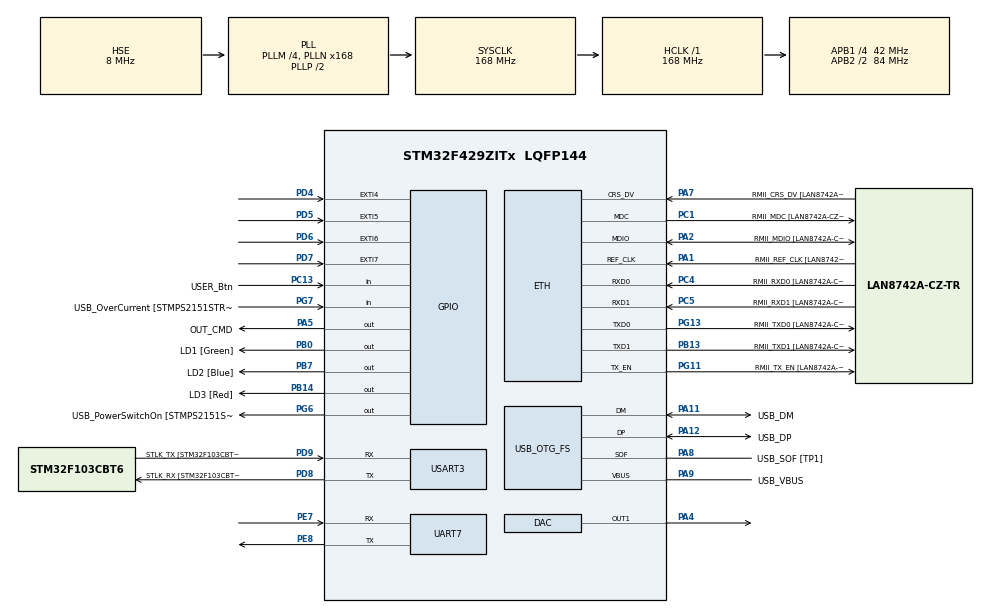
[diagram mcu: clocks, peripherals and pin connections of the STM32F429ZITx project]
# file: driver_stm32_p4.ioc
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Mcu.Family=STM32F4
FREERTOS.Queues01=queue_read_uart,49,10,1,Dynamic,NULL,NULL;queue_send_uart,10,5,1,Dynamic,NULL,NULL
RCC.CortexFreq_Value=168000000
PG6.Signal=GPIO_Output
PB14.GPIO_Label=LD3 [Red]
PG6.GPIO_Label=USB_PowerSwitchOn [STMPS2151STR_EN]
PA14.GPIO_Label=TCK
RCC.SYSCLKSourceVirtual=RCC_SYSCLKSOURCE_PLLCLK
PA11.Mode=Device_Only
PB0.GPIO_Label=LD1 [Green]
PC14/OSC32_IN.Mode=LSE-External-Oscillator
PC5.Mode=RMII
PC13.GPIO_Label=USER_Btn
PB13.GPIO_Label=RMII_TXD1 [LAN8742A-CZ-TR_TXD1]
PB13.Signal=ETH_TXD1
PG13.Signal=ETH_TXD0
PD9.Mode=Asynchronous
PG11.Signal=ETH_TX_EN
RCC.SYSCLKSource=RCC_SYSCLKSOURCE_PLLCLK
ProjectManager.StackSize=0x400
VP_FREERTOS_VS_CMSIS_V2.Mode=CMSIS_V2
PA12.Signal=USB_OTG_FS_DP
ETH.PHY_Value=0
PH0/OSC_IN.Mode=HSE-External-Clock-Source
RCC.HCLKFreq_Value=168000000
PD4.Signal=GPXTI4
RCC.APB2TimFreq_Value=168000000
PH1/OSC_OUT.Signal=RCC_OSC_OUT
PD8.Signal=USART3_TX
RCC.AHBFreq_Value=168000000
RCC.HSE_VALUE=8000000
RCC.PLLMUL=RCC_PLL_MUL9
PC4.GPIO_Label=RMII_RXD0 [LAN8742A-CZ-TR_RXD0]
PA14.Mode=Serial_Wire
PA10.GPIO_Label=USB_ID
PB7.Signal=GPIO_Output
PA8.Signal=USB_OTG_FS_SOF
PG13.Mode=RMII
ETH.PHY_Name=LAN8742A_PHY_ADDRESS
PH1/OSC_OUT.Mode=HSE-External-Clock-Source
PB7.GPIO_Label=LD2 [Blue]
Mcu.Package=LQFP144
PC14/OSC32_IN.Signal=RCC_OSC32_IN
PA2.GPIO_Label=RMII_MDIO [LAN8742A-CZ-TR_MDIO]
PA10.Signal=USB_OTG_FS_ID
USB_OTG_FS.VirtualMode=Device_Only
RCC.APB2CLKDivider=RCC_HCLK_DIV2
RCC.APB1TimFreq_Value=84000000
PG11.GPIO_Label=RMII_TX_EN [LAN8742A-CZ-TR_TXEN]
PC5.Signal=ETH_RXD1
PB13.Mode=RMII
PE7.Signal=UART7_RX
PD6.Signal=GPXTI6
PC4.Mode=RMII
SH.COMP_DAC1_group.0=DAC_OUT1,DAC_OUT1
NVIC.EXTI4_IRQn=true\:5\:0\:false\:false\:true\:true\:true\:true
FREERTOS.Tasks01=defaultTask,24,128,StartDefaultTask,Default,NULL,Dynamic,NULL,NULL;read_input_task,24,128,read_input_function,Default,NULL,Dynamic,NULL,NULL;show_led_task,24,128,show_led_function,Default,NULL,Dynamic,NULL,NULL;uart_task,24,128,uart_task_function,Default,NULL,Dynamic,NULL,NULL;other_task,40,128,other_task_function,Default,NULL,Dynamic,NULL,NULL
PA7.Mode=RMII
PG7.Signal=GPIO_Input
PD9.GPIO_Label=STLK_TX [STM32F103CBT6_PA2]
PC13.Signal=GPIO_Input
PA9.GPIO_Label=USB_VBUS
PC4.Signal=ETH_RXD0
PD7.Signal=GPXTI7
PA11.GPIO_Label=USB_DM
PD9.Signal=USART3_RX
PD5.Signal=GPXTI5
UART7.VirtualMode=Asynchronous
RCC.APB1CLKDivider=RCC_HCLK_DIV4
PG13.GPIO_Label=RMII_TXD0 [LAN8742A-CZ-TR_TXD0]
ETH.PhyAddress=0
PA12.GPIO_Label=USB_DP
PD8.GPIO_Label=STLK_RX [STM32F103CBT6_PA3]
PE8.Mode=Asynchronous
PA13.Signal=SYS_JTMS-SWDIO
PA9.Mode=Activate_VBUS
PA8.GPIO_Label=USB_SOF [TP1]
ProjectManager.TargetToolchain=TrueSTUDIO
PA9.Signal=USB_OTG_FS_VBUS
RCC.USBFreq_Value=48000000
PD8.Mode=Asynchronous
PA1.Signal=ETH_REF_CLK
PB14.Signal=GPIO_Output
PA5.Signal=GPIO_Output
board=NUCLEO-F429ZI
RCC.VCOOutputFreq_Value=336000000
PH0/OSC_IN.Signal=RCC_OSC_IN
RCC.APB2Freq_Value=84000000
PA1.Mode=RMII
RCC.PRESCALERUSB=RCC_USBCLKSOURCE_PLL_DIV1_5
PE8.Signal=UART7_TX
PG7.GPIO_Label=USB_OverCurrent [STMPS2151STR_FAULT]
PA1.GPIO_Label=RMII_REF_CLK [LAN8742A-CZ-TR_REFCLK0]
PC1.GPIO_Label=RMII_MDC [LAN8742A-CZ-TR_MDC]
PA13.Mode=Serial_Wire
Mcu.Name=STM32F429ZITx
PA2.Signal=ETH_MDIO
PA13.GPIO_Label=TMS
RCC.APB2TimCLKDivider=2
RCC.48MHZClocksFreq_Value=48000000
PA4.Signal=COMP_DAC1_group
RCC.SYSCLKFreq_VALUE=168000000
PE7.Mode=Asynchronous
ETH.MediaInterface=ETH_MEDIA_INTERFACE_RMII
PA7.GPIO_Label=RMII_CRS_DV [LAN8742A-CZ-TR_CRS_DV]
PA12.Mode=Device_Only
PA5.GPIO_Label=OUT_CMD
PC5.GPIO_Label=RMII_RXD1 [LAN8742A-CZ-TR_RXD1]
USART3.VirtualMode=VM_ASYNC
PC15/OSC32_OUT.Mode=LSE-External-Oscillator
PG11.Mode=RMII
PA11.Signal=USB_OTG_FS_DM
NVIC.EXTI9_5_IRQn=true\:5\:0\:false\:true\:true\:1\:true\:true\:true
PA14.Signal=SYS_JTCK-SWCLK
ProjectManager.HeapSize=0x200
RCC.HSI_VALUE=16000000
PH0/OSC_IN.GPIO_Label=MCO [STM32F103CBT6_PA8]
RCC.PLLQ=7
NVIC.PriorityGroup=NVIC_PRIORITYGROUP_4
RCC.PLLM=4
RCC.PLLN=168
PA2.Mode=RMII
PC15/OSC32_OUT.Signal=RCC_OSC32_OUT
PA8.Mode=Activate_SOF_FS
RCC.APB1Freq_Value=42000000
PB0.Signal=GPIO_Output
PC1.Signal=ETH_MDC
PC1.Mode=RMII
PA7.Signal=ETH_CRS_DV

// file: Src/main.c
/* USER CODE BEGIN Header */
/**
 ******************************************************************************
 * @file           : main.c
 * @brief          : Main program body
 ******************************************************************************
 * @attention
 *
 * <h2><center>&copy; Copyright (c) 2020 STMicroelectronics.
 * All rights reserved.</center></h2>
 *
 * This software component is licensed by ST under Ultimate Liberty license
 * SLA0044, the "License"; You may not use this file except in compliance with
 * the License. You may obtain a copy of the License at:
 *                             www.st.com/SLA0044
 *
 ******************************************************************************
 */
/* USER CODE END Header */

#include "main.h"
#include "cmsis_os.h"

/* USER CODE BEGIN Includes */
#include <stdbool.h>

/* USER CODE END Includes */

/* USER CODE BEGIN PD */
#define TIME_0_HIGH 8
#define TIME_0_LOW 20
#define TIME_1_HIGH 19
#define TIME_1_LOW 13
#define TIME_RESET 2000
#define SIZE_MESSAGE_SEND 9
#define SIZE_MESSAGE_RECEIVE 10

/* USER CODE END PD */

DAC_HandleTypeDef hdac;

ETH_HandleTypeDef heth;

UART_HandleTypeDef huart7;
UART_HandleTypeDef huart3;

PCD_HandleTypeDef hpcd_USB_OTG_FS;

/* Definitions for defaultTask */
osThreadId_t defaultTaskHandle;
const osThreadAttr_t defaultTask_attributes = {
		.name = "defaultTask",
		.priority = (osPriority_t) osPriorityNormal,
		.stack_size = 128 * 4
};
/* Definitions for read_input_task */
osThreadId_t read_input_taskHandle;
const osThreadAttr_t read_input_task_attributes = {
		.name = "read_input_task",
		.priority = (osPriority_t) osPriorityNormal,
		.stack_size = 128 * 4
};
/* Definitions for show_led_task */
osThreadId_t show_led_taskHandle;
const osThreadAttr_t show_led_task_attributes = {
		.name = "show_led_task",
		.priority = (osPriority_t) osPriorityNormal,
		.stack_size = 128 * 4
};
/* Definitions for uart_task */
osThreadId_t uart_taskHandle;
const osThreadAttr_t uart_task_attributes = {
		.name = "uart_task",
		.priority = (osPriority_t) osPriorityNormal,
		.stack_size = 128 * 4
};
/* Definitions for other_task */
osThreadId_t other_taskHandle;
const osThreadAttr_t other_task_attributes = {
		.name = "other_task",
		.priority = (osPriority_t) osPriorityHigh,
		.stack_size = 128 * 4
};
/* Definitions for queue_read_uart */
osMessageQueueId_t queue_read_uartHandle;
const osMessageQueueAttr_t queue_read_uart_attributes = {
		.name = "queue_read_uart"
};
/* Definitions for queue_send_uart */
osMessageQueueId_t queue_send_uartHandle;
const osMessageQueueAttr_t queue_send_uart_attributes = {
		.name = "queue_send_uart"
};
/* USER CODE BEGIN PV */

bool flag_interrupt_left = false;
bool flag_interrupt_down = false;
bool flag_interrupt_right = false;
int matrix[8][8];

/* USER CODE END PV */

void SystemClock_Config(void);
static void MX_GPIO_Init(void);
static void MX_ETH_Init(void);
static void MX_USART3_UART_Init(void);
static void MX_USB_OTG_FS_PCD_Init(void);
static void MX_UART7_Init(void);
static void MX_DAC_Init(void);
void StartDefaultTask(void *argument);
void read_input_function(void *argument);
void show_led_function(void *argument);
void uart_task_function(void *argument);
void other_task_function(void *argument);

static void MX_NVIC_Init(void);

int main(void)
{

	/* MCU Configuration--------------------------------------------------------*/

	/* Reset of all peripherals, Initializes the Flash interface and the Systick. */
	HAL_Init();

	/* Configure the system clock */
	SystemClock_Config();

	/* Initialize all configured peripherals */
	MX_GPIO_Init();
	MX_ETH_Init();
	MX_USART3_UART_Init();
	MX_USB_OTG_FS_PCD_Init();
	MX_UART7_Init();
	MX_DAC_Init();

	/* Initialize interrupts */
	MX_NVIC_Init();

	/* Init scheduler */
	osKernelInitialize();

	/* Create the queue(s) */
	/* creation of queue_read_uart */
	queue_read_uartHandle = osMessageQueueNew (49, 10, &queue_read_uart_attributes);

	/* creation of queue_send_uart */
	queue_send_uartHandle = osMessageQueueNew (10, 9, &queue_send_uart_attributes);

	/* Create the thread(s) */
	/* creation of defaultTask */
	defaultTaskHandle = osThreadNew(StartDefaultTask, NULL, &defaultTask_attributes);

	/* creation of read_input_task */
	read_input_taskHandle = osThreadNew(read_input_function, NULL, &read_input_task_attributes);

	/* creation of show_led_task */
	show_led_taskHandle = osThreadNew(show_led_function, NULL, &show_led_task_attributes);

	/* creation of uart_task */
	uart_taskHandle = osThreadNew(uart_task_function, NULL, &uart_task_attributes);

	/* creation of other_task */
	other_taskHandle = osThreadNew(other_task_function, NULL, &other_task_attributes);

	/* Start scheduler */
	osKernelStart();

	/* We should never get here as control is now taken by the scheduler */
	/* Infinite loop */
	while (1)
	{

	}
}

void SystemClock_Config(void)
{
	RCC_OscInitTypeDef RCC_OscInitStruct = {0};
	RCC_ClkInitTypeDef RCC_ClkInitStruct = {0};

	/** Configure the main internal regulator output voltage
	 */
	__HAL_RCC_PWR_CLK_ENABLE();
	__HAL_PWR_VOLTAGESCALING_CONFIG(PWR_REGULATOR_VOLTAGE_SCALE1);
	/** Initializes the CPU, AHB and APB busses clocks
	 */
	RCC_OscInitStruct.OscillatorType = RCC_OSCILLATORTYPE_HSE;
	RCC_OscInitStruct.HSEState = RCC_HSE_BYPASS;
	RCC_OscInitStruct.PLL.PLLState = RCC_PLL_ON;
	RCC_OscInitStruct.PLL.PLLSource = RCC_PLLSOURCE_HSE;
	RCC_OscInitStruct.PLL.PLLM = 4;
	RCC_OscInitStruct.PLL.PLLN = 168;
	RCC_OscInitStruct.PLL.PLLP = RCC_PLLP_DIV2;
	RCC_OscInitStruct.PLL.PLLQ = 7;
	if (HAL_RCC_OscConfig(&RCC_OscInitStruct) != HAL_OK)
	{
		Error_Handler();
	}
	/** Initializes the CPU, AHB and APB busses clocks
	 */
	RCC_ClkInitStruct.ClockType = RCC_CLOCKTYPE_HCLK|RCC_CLOCKTYPE_SYSCLK
			|RCC_CLOCKTYPE_PCLK1|RCC_CLOCKTYPE_PCLK2;
	RCC_ClkInitStruct.SYSCLKSource = RCC_SYSCLKSOURCE_PLLCLK;
	RCC_ClkInitStruct.AHBCLKDivider = RCC_SYSCLK_DIV1;
	RCC_ClkInitStruct.APB1CLKDivider = RCC_HCLK_DIV4;
	RCC_ClkInitStruct.APB2CLKDivider = RCC_HCLK_DIV2;

	if (HAL_RCC_ClockConfig(&RCC_ClkInitStruct, FLASH_LATENCY_5) != HAL_OK)
	{
		Error_Handler();
	}
}

/**
 * @brief NVIC Configuration.
 * @retval None
 */
static void MX_NVIC_Init(void)
{
	/* EXTI9_5_IRQn interrupt configuration */
	HAL_NVIC_SetPriority(EXTI9_5_IRQn, 5, 0);
	HAL_NVIC_EnableIRQ(EXTI9_5_IRQn);
}

static void MX_DAC_Init(void)
{

	DAC_ChannelConfTypeDef sConfig = {0};

	/** DAC Initialization
	 */
	hdac.Instance = DAC;
	if (HAL_DAC_Init(&hdac) != HAL_OK)
	{
		Error_Handler();
	}
	/** DAC channel OUT1 config
	 */
	sConfig.DAC_Trigger = DAC_TRIGGER_NONE;
	sConfig.DAC_OutputBuffer = DAC_OUTPUTBUFFER_ENABLE;
	if (HAL_DAC_ConfigChannel(&hdac, &sConfig, DAC_CHANNEL_1) != HAL_OK)
	{
		Error_Handler();
	}

}

static void MX_ETH_Init(void)
{

	heth.Instance = ETH;
	heth.Init.AutoNegotiation = ETH_AUTONEGOTIATION_ENABLE;
	heth.Init.PhyAddress = LAN8742A_PHY_ADDRESS;
	heth.Init.MACAddr[0] =   0x00;
	heth.Init.MACAddr[1] =   0x80;
	heth.Init.MACAddr[2] =   0xE1;
	heth.Init.MACAddr[3] =   0x00;
	heth.Init.MACAddr[4] =   0x00;
	heth.Init.MACAddr[5] =   0x00;
	heth.Init.RxMode = ETH_RXPOLLING_MODE;
	heth.Init.ChecksumMode = ETH_CHECKSUM_BY_HARDWARE;
	heth.Init.MediaInterface = ETH_MEDIA_INTERFACE_RMII;

	if (HAL_ETH_Init(&heth) != HAL_OK)
	{
		Error_Handler();
	}

}

static void MX_UART7_Init(void)
{

	huart7.Instance = UART7;
	huart7.Init.BaudRate = 115200;
	huart7.Init.WordLength = UART_WORDLENGTH_8B;
	huart7.Init.StopBits = UART_STOPBITS_1;
	huart7.Init.Parity = UART_PARITY_NONE;
	huart7.Init.Mode = UART_MODE_TX_RX;
	huart7.Init.HwFlowCtl = UART_HWCONTROL_NONE;
	huart7.Init.OverSampling = UART_OVERSAMPLING_16;
	if (HAL_UART_Init(&huart7) != HAL_OK)
	{
		Error_Handler();
	}

}

static void MX_USART3_UART_Init(void)
{

	huart3.Instance = USART3;
	huart3.Init.BaudRate = 115200;
	huart3.Init.WordLength = UART_WORDLENGTH_8B;
	huart3.Init.StopBits = UART_STOPBITS_1;
	huart3.Init.Parity = UART_PARITY_NONE;
	huart3.Init.Mode = UART_MODE_TX_RX;
	huart3.Init.HwFlowCtl = UART_HWCONTROL_NONE;
	huart3.Init.OverSampling = UART_OVERSAMPLING_16;
	if (HAL_UART_Init(&huart3) != HAL_OK)
	{
		Error_Handler();
	}

}

static void MX_USB_OTG_FS_PCD_Init(void)
{

	hpcd_USB_OTG_FS.Instance = USB_OTG_FS;
	hpcd_USB_OTG_FS.Init.dev_endpoints = 4;
	hpcd_USB_OTG_FS.Init.speed = PCD_SPEED_FULL;
	hpcd_USB_OTG_FS.Init.dma_enable = DISABLE;
	hpcd_USB_OTG_FS.Init.phy_itface = PCD_PHY_EMBEDDED;
	hpcd_USB_OTG_FS.Init.Sof_enable = ENABLE;
	hpcd_USB_OTG_FS.Init.low_power_enable = DISABLE;
	hpcd_USB_OTG_FS.Init.lpm_enable = DISABLE;
	hpcd_USB_OTG_FS.Init.vbus_sensing_enable = ENABLE;
	hpcd_USB_OTG_FS.Init.use_dedicated_ep1 = DISABLE;
	if (HAL_PCD_Init(&hpcd_USB_OTG_FS) != HAL_OK)
	{
		Error_Handler();
	}

}

static void MX_GPIO_Init(void)
{
	GPIO_InitTypeDef GPIO_InitStruct = {0};

	/* GPIO Ports Clock Enable */
	__HAL_RCC_GPIOC_CLK_ENABLE();
	__HAL_RCC_GPIOH_CLK_ENABLE();
	__HAL_RCC_GPIOA_CLK_ENABLE();
	__HAL_RCC_GPIOB_CLK_ENABLE();
	__HAL_RCC_GPIOE_CLK_ENABLE();
	__HAL_RCC_GPIOD_CLK_ENABLE();
	__HAL_RCC_GPIOG_CLK_ENABLE();

	/*Configure GPIO pin Output Level */
	HAL_GPIO_WritePin(OUT_CMD_GPIO_Port, OUT_CMD_Pin, GPIO_PIN_RESET);

	/*Configure GPIO pin Output Level */
	HAL_GPIO_WritePin(GPIOB, LD1_Pin|LD3_Pin|LD2_Pin, GPIO_PIN_RESET);

	/*Configure GPIO pin Output Level */
	HAL_GPIO_WritePin(USB_PowerSwitchOn_GPIO_Port, USB_PowerSwitchOn_Pin, GPIO_PIN_RESET);

	/*Configure GPIO pin : USER_Btn_Pin */
	GPIO_InitStruct.Pin = USER_Btn_Pin;
	GPIO_InitStruct.Mode = GPIO_MODE_INPUT;
	GPIO_InitStruct.Pull = GPIO_NOPULL;
	HAL_GPIO_Init(USER_Btn_GPIO_Port, &GPIO_InitStruct);

	/*Configure GPIO pin : OUT_CMD_Pin */
	GPIO_InitStruct.Pin = OUT_CMD_Pin;
	GPIO_InitStruct.Mode = GPIO_MODE_OUTPUT_PP;
	GPIO_InitStruct.Pull = GPIO_NOPULL;
	GPIO_InitStruct.Speed = GPIO_SPEED_FREQ_LOW;
	HAL_GPIO_Init(OUT_CMD_GPIO_Port, &GPIO_InitStruct);

	/*Configure GPIO pins : LD1_Pin LD3_Pin LD2_Pin */
	GPIO_InitStruct.Pin = LD1_Pin|LD3_Pin|LD2_Pin;
	GPIO_InitStruct.Mode = GPIO_MODE_OUTPUT_PP;
	GPIO_InitStruct.Pull = GPIO_NOPULL;
	GPIO_InitStruct.Speed = GPIO_SPEED_FREQ_LOW;
	HAL_GPIO_Init(GPIOB, &GPIO_InitStruct);

	/*Configure GPIO pin : USB_PowerSwitchOn_Pin */
	GPIO_InitStruct.Pin = USB_PowerSwitchOn_Pin;
	GPIO_InitStruct.Mode = GPIO_MODE_OUTPUT_PP;
	GPIO_InitStruct.Pull = GPIO_NOPULL;
	GPIO_InitStruct.Speed = GPIO_SPEED_FREQ_LOW;
	HAL_GPIO_Init(USB_PowerSwitchOn_GPIO_Port, &GPIO_InitStruct);

	/*Configure GPIO pin : USB_OverCurrent_Pin */
	GPIO_InitStruct.Pin = USB_OverCurrent_Pin;
	GPIO_InitStruct.Mode = GPIO_MODE_INPUT;
	GPIO_InitStruct.Pull = GPIO_NOPULL;
	HAL_GPIO_Init(USB_OverCurrent_GPIO_Port, &GPIO_InitStruct);

	/*Configure GPIO pins : PD4 PD5 PD6 PD7 */
	GPIO_InitStruct.Pin = GPIO_PIN_4|GPIO_PIN_5|GPIO_PIN_6|GPIO_PIN_7;
	GPIO_InitStruct.Mode = GPIO_MODE_IT_RISING;
	GPIO_InitStruct.Pull = GPIO_NOPULL;
	HAL_GPIO_Init(GPIOD, &GPIO_InitStruct);

	/* EXTI interrupt init*/
	HAL_NVIC_SetPriority(EXTI4_IRQn, 5, 0);
	HAL_NVIC_EnableIRQ(EXTI4_IRQn);

}

/* USER CODE BEGIN 4 */
void HAL_GPIO_EXTI_Callback(uint16_t GPIO_Pin){
	if(GPIO_Pin == GPIO_PIN_4){
		flag_interrupt_left = true;
	}
	else if(GPIO_Pin == GPIO_PIN_5){
		flag_interrupt_down = true;
	}
	else if(GPIO_Pin == GPIO_PIN_6){
		flag_interrupt_down = true;
	}
	else if(GPIO_Pin == GPIO_PIN_7){
		flag_interrupt_right = true;
	}
}

uint8_t two_ascii_to_uint8(char color_value[2]){
	uint8_t num_color_value1 = 0;
	uint8_t num_color_value2 = 0;
	uint8_t total_color_value = 0;

	// calcul la valeur décimal du premier caractère hexa
	if (color_value[0] == '0'){
		num_color_value1 = 0*16;
	}
	else if (color_value[0] == '1'){
		num_color_value1 = 1*16;
	}
	else if (color_value[0] == '2'){
		num_color_value1 = 2*16;
	}
	else if (color_value[0] == '3'){
		num_color_value1 = 3*16;
	}
	else if (color_value[0] == '4'){
		num_color_value1 = 4*16;
	}
	else if (color_value[0] == '5'){
		num_color_value1 = 5*16;
	}
	else if (color_value[0] == '6'){
		num_color_value1 = 6*16;
	}
	else if (color_value[0] == '7'){
		num_color_value1 = 7*16;
	}
	else if (color_value[0] == '8'){
		num_color_value1 = 8*16;
	}
	else if (color_value[0] == '0'){
		num_color_value1 = 0*16;
	}
	else if (color_value[0] == '9'){
		num_color_value1 = 9*16;
	}
	else if (color_value[0] == 'A'){
		num_color_value1 = 10*16;
	}
	else if (color_value[0] == 'B'){
		num_color_value1 = 11*16;
	}
	else if (color_value[0] == 'C'){
		num_color_value1 = 12*16;
	}
	else if (color_value[0] == 'D'){
		num_color_value1 = 13*16;
	}
	else if (color_value[0] == 'E'){
		num_color_value1 = 14*16;
	}
	else if (color_value[0] == 'F'){
		num_color_value1 = 15*16;
	}

	// calcul la valeur décimal du deuxieme caractère hexa
	if (color_value[1] == '0'){
		num_color_value2 = 0;
	}
	else if (color_value[1] == '1'){
		num_color_value2 = 1;
	}
	else if (color_value[1] == '2'){
		num_color_value2 = 2;
	}
	else if (color_value[1] == '3'){
		num_color_value2 = 3;
	}
	else if (color_value[1] == '4'){
		num_color_value2 = 4;
	}
	else if (color_value[1] == '5'){
		num_color_value2 = 5;
	}
	else if (color_value[1] == '6'){
		num_color_value2 = 6;
	}
	else if (color_value[1] == '7'){
		num_color_value2 = 7;
	}
	else if (color_value[1] == '8'){
		num_color_value2 = 8;
	}
	else if (color_value[1] == '0'){
		num_color_value2 = 0;
	}
	else if (color_value[1] == '9'){
		num_color_value2 = 9;
	}
	else if (color_value[1] == 'A'){
		num_color_value2 = 10;
	}
	else if (color_value[1] == 'B'){
		num_color_value2 = 11;
	}
	else if (color_value[1] == 'C'){
		num_color_value2 = 12;
	}
	else if (color_value[1] == 'D'){
		num_color_value2 = 13;
	}
	else if (color_value[1] == 'E'){
		num_color_value2 = 14;
	}
	else if (color_value[1] == 'F'){
		num_color_value2 = 15;
	}
	total_color_value = num_color_value1 + num_color_value2;
	return total_color_value;
}

void init_matrix( ){
	for(int row=0 ; row<8; row++){
		for(int col=0 ; col<8; col++){
			matrix[row][col]= 0;
		}
	}
}

void update_matrix(int row, int col, int GRBValue){
	for (int i = 0 ; i < 8 ;i++){
		for(int j=0; j < 8;j++){
			if ((i == row) && (j==col)){
				matrix[i][j]= GRBValue;
			}
		}
	}
}

void test_trame_to_led(){
	init_matrix();
	char message_receive[10] = {"R87000008\n"};
	char var_Rvalue[2] = {0};
	char var_Gvalue[2] = {0};
	char var_Bvalue[2] = {0};
	int row = 0;
	int col = 0;

	row = message_receive[1];
	col = message_receive[2];
	row = row - 48;
	col = col - 48;
	var_Rvalue[0] = message_receive[3];
	var_Rvalue[1] = message_receive[4];
	var_Gvalue[0] = message_receive[5];
	var_Gvalue[1] = message_receive[6];
	var_Bvalue[0] = message_receive[7];
	var_Bvalue[1] = message_receive[8];
	uint8_t num_Rvalue = two_ascii_to_uint8(var_Rvalue);
	uint8_t num_Gvalue = two_ascii_to_uint8(var_Gvalue);
	uint8_t num_Bvalue = two_ascii_to_uint8(var_Bvalue);
	int GRBValue = 0;
	GRBValue = (num_Gvalue<<16) + (num_Rvalue<<8) + num_Bvalue;
	update_matrix(row, col, GRBValue);
	send_trame_to_led();
}

void send_trame_to_led(){
	uint8_t trame_length = 24;
	int mask = 0x800000;
	vTaskSuspendAll();
	SysTick->CTRL &= ~1;
	TIM1->CR1 &= (uint16_t)~TIM_CR1_CEN;
	for (int row = 0; row < 8; row ++){
		for (int col = 0; col < 8; col ++){
			int data = matrix[row][col];
			mask = 0x800000;
			for (int i = trame_length -1; i >= 0; i--){
				uint8_t bit_data = (data & mask) >>i;
				if (bit_data == 0){
					HAL_GPIO_WritePin(OUT_CMD_GPIO_Port, OUT_CMD_Pin, 1);
					int j = TIME_0_HIGH;
					while (j --);
					HAL_GPIO_WritePin(OUT_CMD_GPIO_Port, OUT_CMD_Pin, 0);
					int k = TIME_0_LOW;
					while (k --);
				}
				else if(bit_data == 1){
					HAL_GPIO_WritePin(OUT_CMD_GPIO_Port, OUT_CMD_Pin, 1);
					int j = TIME_1_HIGH;
					while (j --);
					HAL_GPIO_WritePin(OUT_CMD_GPIO_Port, OUT_CMD_Pin, 0);
					int k = TIME_1_LOW;
					while (k --);
				}
				mask >>= 1;
			}
		}
	}
	HAL_GPIO_WritePin(OUT_CMD_GPIO_Port, OUT_CMD_Pin, 1);
	HAL_GPIO_WritePin(OUT_CMD_GPIO_Port, OUT_CMD_Pin, 0);
	xTaskResumeAll();
	SysTick->CTRL |= 1;
	TIM1->CR1 |= TIM_CR1_CEN;
	osDelay(1);
}

/* USER CODE END 4 */

void StartDefaultTask(void *argument)
{
	/* USER CODE BEGIN 5 */
	/* Infinite loop */
	for(;;)
	{
		osDelay(1000);
	}
	/* USER CODE END 5 */
}

void read_input_function(void *argument)
{
	/* USER CODE BEGIN read_input_function */
	char message[9];
	message[0] = 'p';
	message[1] = '1';
	message[2] = '0';
	message[3] = 'd';
	message[4] = 'p';
	message[5] = '2';
	message[6] = '0';
	message[7] = 'd';
	message[8] = '\n';

	/* Infinite loop */
	for(;;)
	{
		if (flag_interrupt_left){
			message[2] = 'l';
			message[6] = 'l';
			flag_interrupt_left = false;
		}
		else if (flag_interrupt_down){
			message[2] = 'd';
			message[6] = 'd';
			flag_interrupt_down = false;
		}
		else if (flag_interrupt_right){
			message[2] = 'r';
			message[6] = 'r';
			flag_interrupt_right = false;
		}
		if (message[2] != '0' || message[6] != '0'){
			osMessageQueuePut(queue_send_uartHandle, message, 0, 10);
			message[2] = '0';
			message[6] = '0';
			//test_trame_to_led();
			osDelay(10);
		}
		osDelay(1);
	}
	/* USER CODE END read_input_function */
}

void show_led_function(void *argument)
{
	/* USER CODE BEGIN show_led_function */
	char message_receive[10] = {0};
	char var_Rvalue[2] = {0};
	char var_Gvalue[2] = {0};
	char var_Bvalue[2] = {0};
	int row = 0;
	int col = 0;
	/* Infinite loop */
	for(;;)
	{
		if(osMessageQueueGetCount(queue_read_uartHandle) > 0){
			osMessageQueueGet(queue_read_uartHandle, message_receive, 0, 10);
			row = message_receive[1];
			col = message_receive[2];
			row = row - 48;
			col = col - 48;
			var_Rvalue[0] = message_receive[3];
			var_Rvalue[1] = message_receive[4];
			var_Gvalue[0] = message_receive[5];
			var_Gvalue[1] = message_receive[6];
			var_Bvalue[0] = message_receive[7];
			var_Bvalue[1] = message_receive[8];
			uint8_t num_Rvalue = two_ascii_to_uint8(var_Rvalue);
			uint8_t num_Gvalue = two_ascii_to_uint8(var_Gvalue);
			uint8_t num_Bvalue = two_ascii_to_uint8(var_Bvalue);
			int GRBValue = 0;
			GRBValue = (num_Gvalue<<16) + (num_Rvalue<<8) + num_Bvalue;
			if ((matrix[row][col]) != GRBValue){
				update_matrix(row, col, GRBValue);
			}
			send_trame_to_led();
			osDelay(1);
		}
		osDelay(1);
	}
	/* USER CODE END show_led_function */
}

void uart_task_function(void *argument)
{
	/* USER CODE BEGIN uart_task_function */
	char message_send[9] = {0};
	char message_receive[10] = {0};
	/* Infinite loop */
	for(;;)
	{
		if(osMessageQueueGetCount(queue_send_uartHandle) > 0){
			osMessageQueueGet(queue_send_uartHandle, message_send, 0, 10);
			HAL_UART_Transmit(&huart7,(uint8_t *) message_send, SIZE_MESSAGE_SEND, 10);
			osDelay(10);
		}
		if(HAL_UART_Receive(&huart7,(uint8_t *) message_receive, SIZE_MESSAGE_RECEIVE, 10) == HAL_OK){
			osMessageQueuePut(queue_read_uartHandle, message_receive, 0, 10);
		}
		osDelay(1);
	}
	/* USER CODE END uart_task_function */
}

void other_task_function(void *argument)
{
	for(;;)
	{
		osDelay(1);
	}
}

void Error_Handler(void)
{
}

/************************ (C) COPYRIGHT STMicroelectronics *****END OF FILE****/
